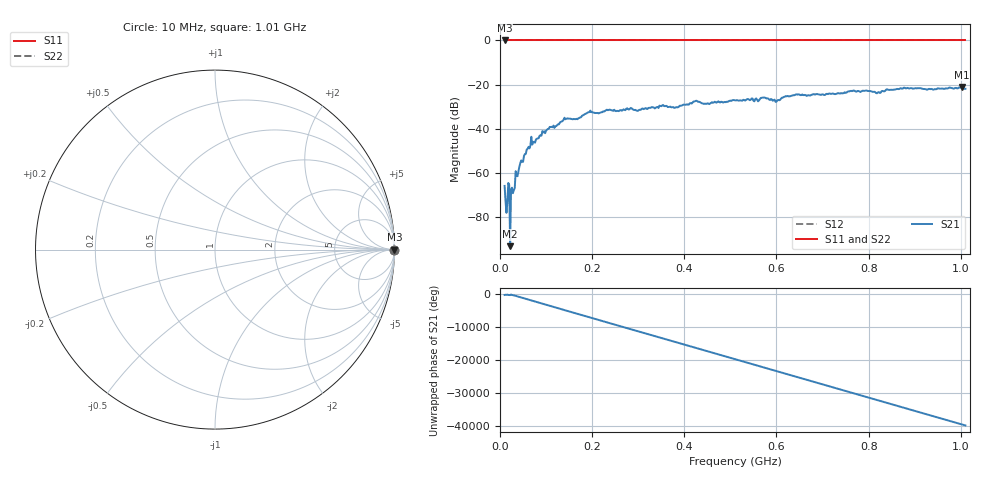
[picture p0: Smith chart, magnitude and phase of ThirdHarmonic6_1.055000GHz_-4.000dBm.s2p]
! 8/16/2025 9:22:11 AM
! C:\ANRITSUVNA\TEMP\TEMP.S2P
! CHANNEL.1
! TR.MEASUREMENT
! RAW.DATA
! RF.CORRECTION.OFF
! AVERAGING.OFF
! IF.BANDWIDTH: 5KHZ
! SWEEPTYPE:  FREQ.SWEEP(Linear)
! Reference Plane Port Info
! PORT:  PORT1  PORT2
! DISTANCE:  0  m  0  m
! TIME:  0  s  0  s
! PHASE.OFFSET:  0  deg.  0  deg.
! LOSS:  0  dB  0  dB
! REF.LOSS:  0  dB  0  dB
! REF.FREQ:  0  Hz  0  Hz
! Power Info
! POWER:  -20  dBm  -20  dBm
! EFF.POWER:  -20  dBm  -20  dBm
! SOURCE.ATTEN:  0  dB  0  dB
! TEST.ATTEN:  0  dB  0  dB
# GHZ S RI R 50.0
! FREQ.GHZ  S11RE  S11IM  S21RE  S21IM  S12RE  S12IM  S22RE  S22IM
!; PortSelection: Port_12
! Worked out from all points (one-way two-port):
!   501 points, 10 MHz to 1.01 GHz, reference 50 ohm
!   highest |S21| = -21.09 dB at 1.002 GHz (marker M1); lowest = -93.2 dB at 22 MHz (marker M2)
!   lowest |S11| = 0.0 dB at 10 MHz (marker M3)
!   |S11| at or under -10 dB: nowhere
!   |S22| runs from 0.0 to 0.0 dB; largest |S21 - S12| = 1.1
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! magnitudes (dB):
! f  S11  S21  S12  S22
! 10 MHz  0.0  -65.9  0.0  0.0
! 18 MHz  0.0  -64.6  0.0  0.0
! 22 MHz  0.0  -93.2  0.0  0.0
! 26 MHz  0.0  -66.7  0.0  0.0
! 38 MHz  0.0  -61.5  0.0  0.0
! 44 MHz  0.0  -55.6  0.0  0.0
! 70 MHz  0.0  -47.2  0.0  0.0
! 142 MHz  0.0  -35.7  0.0  0.0
! 178 MHz  0.0  -34.1  0.0  0.0
! 196 MHz  0.0  -31.8  0.0  0.0
! 344 MHz  0.0  -30.6  0.0  0.0
! 382 MHz  0.0  -30.2  0.0  0.0
! 424 MHz  0.0  -27.5  0.0  0.0
! 450 MHz  0.0  -28.5  0.0  0.0
! 510 MHz  0.0  -27.1  0.0  0.0
! 572 MHz  0.0  -25.9  0.0  0.0
! 602 MHz  0.0  -27.1  0.0  0.0
! 620 MHz  0.0  -25.2  0.0  0.0
! 678 MHz  0.0  -24.5  0.0  0.0
! 844 MHz  0.0  -22.4  0.0  0.0
! 1.002 GHz  0.0  -21.1  0.0  0.0
! 1.01 GHz  0.0  -21.9  0.0  0.0
